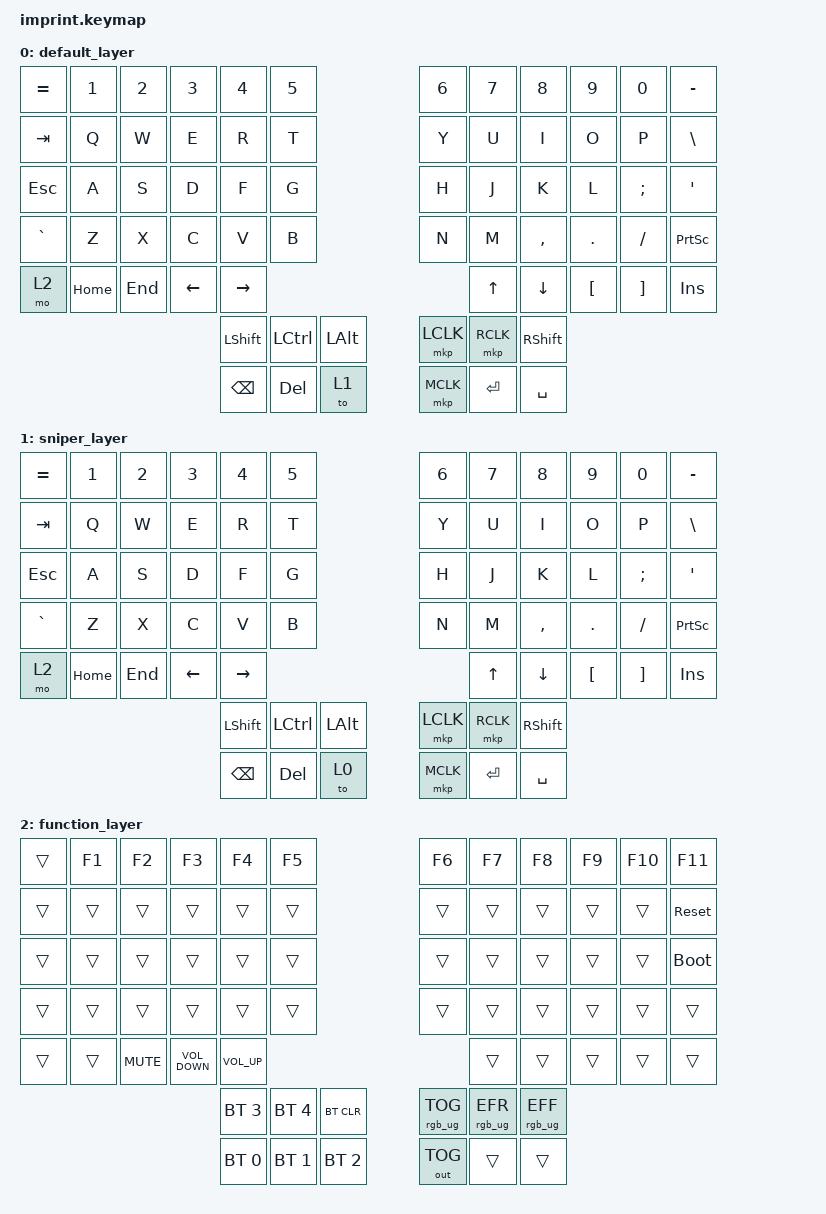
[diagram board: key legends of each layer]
#include <input/processors.dtsi>
#include <dt-bindings/zmk/input_transform.h>
#include <behaviors.dtsi>
#include <dt-bindings/zmk/bt.h>
#include <dt-bindings/zmk/keys.h>
#include <dt-bindings/zmk/outputs.h>
#include <dt-bindings/zmk/pointing.h>
#include <dt-bindings/zmk/rgb.h>

/ {
    chosen { zmk,matrix-transform = &imprint_number_row_full_bottom_row; };

    keymap {
        compatible = "zmk,keymap";

        default_layer {
            bindings = <
&kp EQUAL  &kp N1    &kp N2   &kp N3    &kp N4          &kp N5                            &kp N6     &kp N7     &kp N8           &kp N9            &kp N0             &kp MINUS
&kp TAB    &kp Q     &kp W    &kp E     &kp R           &kp T                             &kp Y      &kp U      &kp I            &kp O             &kp P              &kp BSLH
&kp ESC    &kp A     &kp S    &kp D     &kp F           &kp G                             &kp H      &kp J      &kp K            &kp L             &kp SEMI           &kp SQT
&kp GRAVE  &kp Z     &kp X    &kp C     &kp V           &kp B                             &kp N      &kp M      &kp COMMA        &kp DOT           &kp FSLH           &kp PRINTSCREEN
&mo 2      &kp HOME  &kp END  &kp LEFT  &kp RIGHT                                                    &kp UP     &kp DOWN         &kp LEFT_BRACKET  &kp RIGHT_BRACKET  &kp INSERT
                                        &kp LEFT_SHIFT  &kp LEFT_CONTROL  &kp LEFT_ALT    &mkp LCLK  &mkp RCLK  &kp RIGHT_SHIFT
                                        &kp BACKSPACE   &kp DEL           &to 1           &mkp MCLK  &kp ENTER  &kp SPACE
            >;
        };

        sniper_layer {
            bindings = <
&kp EQUAL  &kp N1    &kp N2   &kp N3    &kp N4          &kp N5                            &kp N6     &kp N7     &kp N8           &kp N9            &kp N0             &kp MINUS
&kp TAB    &kp Q     &kp W    &kp E     &kp R           &kp T                             &kp Y      &kp U      &kp I            &kp O             &kp P              &kp BSLH
&kp ESC    &kp A     &kp S    &kp D     &kp F           &kp G                             &kp H      &kp J      &kp K            &kp L             &kp SEMI           &kp SQT
&kp GRAVE  &kp Z     &kp X    &kp C     &kp V           &kp B                             &kp N      &kp M      &kp COMMA        &kp DOT           &kp FSLH           &kp PRINTSCREEN
&mo 2      &kp HOME  &kp END  &kp LEFT  &kp RIGHT                                                    &kp UP     &kp DOWN         &kp LEFT_BRACKET  &kp RIGHT_BRACKET  &kp INSERT
                                        &kp LEFT_SHIFT  &kp LEFT_CONTROL  &kp LEFT_ALT    &mkp LCLK  &mkp RCLK  &kp RIGHT_SHIFT
                                        &kp BACKSPACE   &kp DEL           &to 0           &mkp MCLK  &kp ENTER  &kp SPACE
            >;
        };

        function_layer {
            bindings = <
&trans  &kp F1  &kp F2      &kp F3             &kp F4           &kp F5                        &kp F6           &kp F7           &kp F8           &kp F9  &kp F10  &kp F11
&trans  &trans  &trans      &trans             &trans           &trans                        &trans           &trans           &trans           &trans  &trans   &sys_reset
&trans  &trans  &trans      &trans             &trans           &trans                        &trans           &trans           &trans           &trans  &trans   &bootloader
&trans  &trans  &trans      &trans             &trans           &trans                        &trans           &trans           &trans           &trans  &trans   &trans
&trans  &trans  &kp K_MUTE  &kp C_VOLUME_DOWN  &kp C_VOLUME_UP                                                 &trans           &trans           &trans  &trans   &trans
                                               &bt BT_SEL 3     &bt BT_SEL 4  &bt BT_CLR      &rgb_ug RGB_TOG  &rgb_ug RGB_EFR  &rgb_ug RGB_EFF
                                               &bt BT_SEL 0     &bt BT_SEL 1  &bt BT_SEL 2    &out OUT_TOG     &trans           &trans
            >;
        };
    };
};

// right hand trackball configuration

&trackball_peripheral_listener {
    input-processors = <&zip_xy_scaler 2 3>;

    //     activate layer 3 within 500ms of the trackball moving
    //     <&zip_temp_layer 3 500>;

    sniper {
        layers = <1>;

        // Lower sensitivity when on sniper layer.

        input-processors = <&zip_xy_scaler 1 5>;
    };
};

// left hand trackball configuration

&trackball_central_listener {
    input-processors =
        // multiply sensitivity by 1, divide by 4 (make it slower for scrolling),,,,,,,,
        <&zip_xy_scaler 1 10>,
        // make this trackball output scrolling events by default instead of cursor movement,,,,,,,,
        <&zip_xy_to_scroll_mapper>,
        // invert vertical scrolling so that the view moves in the same direction as the top of the trackball.,,,,,,,,
        <&zip_scroll_transform INPUT_TRANSFORM_Y_INVERT>;

    // Lower sensitivity when on sniper layer, everything else is the same.

    sniper {
        layers = <1>;
        input-processors =
            <&zip_xy_scaler 1 15>,
            <&zip_xy_to_scroll_mapper>,
            <&zip_scroll_transform INPUT_TRANSFORM_Y_INVERT>;
    };
};
